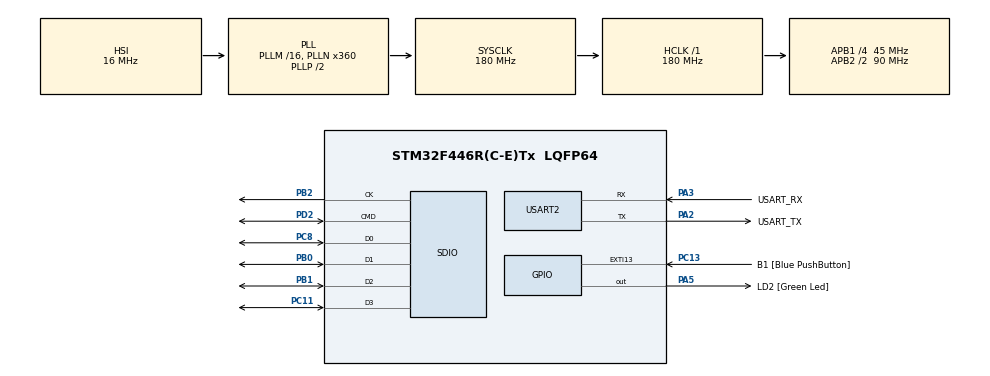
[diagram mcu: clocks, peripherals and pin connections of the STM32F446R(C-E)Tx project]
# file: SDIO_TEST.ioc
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FATFS._MAX_SS=4096
Mcu.Family=STM32F4
Mcu.Name=STM32F446R(C-E)Tx
Mcu.Package=LQFP64
NVIC.PriorityGroup=NVIC_PRIORITYGROUP_0
PA13.GPIO_Label=TMS
PA13.Mode=Serial_Wire
PA13.Signal=SYS_JTMS-SWDIO
PA14.GPIO_Label=TCK
PA14.Mode=Serial_Wire
PA14.Signal=SYS_JTCK-SWCLK
PA2.GPIO_Label=USART_TX
PA2.Mode=Asynchronous
PA2.Signal=USART2_TX
PA3.GPIO_Label=USART_RX
PA3.Mode=Asynchronous
PA3.Signal=USART2_RX
PA5.GPIO_Label=LD2 [Green Led]
PA5.Signal=GPIO_Output
PB0.Mode=SD_4_bits_Wide_bus
PB0.Signal=SDIO_D1
PB1.Mode=SD_4_bits_Wide_bus
PB1.Signal=SDIO_D2
PB2.Mode=SD_4_bits_Wide_bus
PB2.Signal=SDIO_CK
PB3.GPIO_Label=SWO
PB3.Signal=SYS_JTDO-SWO
PC11.Mode=SD_4_bits_Wide_bus
PC11.Signal=SDIO_D3
PC13.GPIO_Label=B1 [Blue PushButton]
PC13.GPIO_ModeDefaultEXTI=GPIO_MODE_IT_FALLING
PC13.Signal=GPXTI13
PC14-OSC32_IN.Mode=LSE-External-Oscillator
PC14-OSC32_IN.Signal=RCC_OSC32_IN
PC15-OSC32_OUT.Mode=LSE-External-Oscillator
PC15-OSC32_OUT.Signal=RCC_OSC32_OUT
PC8.Mode=SD_4_bits_Wide_bus
PC8.Signal=SDIO_D0
PD2.Mode=SD_4_bits_Wide_bus
PD2.Signal=SDIO_CMD
PH0-OSC_IN.Mode=HSE-External-Oscillator
PH0-OSC_IN.Signal=RCC_OSC_IN
PH1-OSC_OUT.Mode=HSE-External-Oscillator
PH1-OSC_OUT.Signal=RCC_OSC_OUT
ProjectManager.HeapSize=0x200
ProjectManager.StackSize=0x400
ProjectManager.TargetToolchain=STM32CubeIDE
RCC.48MHZClocksFreq_Value=84000000
RCC.AHBFreq_Value=180000000
RCC.APB1CLKDivider=RCC_HCLK_DIV4
RCC.APB1Freq_Value=45000000
RCC.APB1TimFreq_Value=90000000
RCC.APB2CLKDivider=RCC_HCLK_DIV2
RCC.APB2Freq_Value=90000000
RCC.APB2TimFreq_Value=180000000
RCC.CortexFreq_Value=180000000
RCC.FLatency-AdvancedSettings=FLASH_LATENCY_5
RCC.HCLKFreq_Value=180000000
RCC.HSE_VALUE=8000000
RCC.HSI_VALUE=16000000
RCC.PLLN=360
RCC.PLLQ=9
RCC.PLLSAIN=180
RCC.SYSCLKFreq_VALUE=180000000
RCC.SYSCLKSource=RCC_SYSCLKSOURCE_PLLCLK
RCC.USBFreq_Value=40000000
RCC.VCOOutputFreq_Value=360000000
SDIO.ClockDiv=78
USART2.VirtualMode=VM_ASYNC
VP_FATFS_VS_SDIO.Mode=SDIO
board=NUCLEO-F446RE

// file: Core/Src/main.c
/* USER CODE BEGIN Header */
/**
  ******************************************************************************
  * @file           : main.c
  * @brief          : Main program body
  ******************************************************************************
  * @attention
  *
  * Copyright (c) 2023 STMicroelectronics.
  * All rights reserved.
  *
  * This software is licensed under terms that can be found in the LICENSE file
  * in the root directory of this software component.
  * If no LICENSE file comes with this software, it is provided AS-IS.
  *
  ******************************************************************************
  */
/* USER CODE END Header */
#include "main.h"
#include "fatfs.h"

/* USER CODE BEGIN Includes */

#include "stdio.h"
#include <string.h>

/* USER CODE END Includes */

/* USER CODE BEGIN PD */

#define BUFFER_SIZE 128

/* USER CODE END PD */

SD_HandleTypeDef hsd;

UART_HandleTypeDef huart2;

/* USER CODE BEGIN PV */

char buffer[BUFFER_SIZE];	// Store strings for f_write

/* USER CODE END PV */

void SystemClock_Config(void);
static void MX_GPIO_Init(void);
static void MX_USART2_UART_Init(void);
static void MX_SDIO_SD_Init(void);

/* USER CODE BEGIN 0 */

FATFS fs; // file system
FIL fil; // file (this needs to be changed)
FILINFO fno;		// ???
FRESULT fresult;
UINT br, bw;
FATFS *pfs;
DWORD fre_clust;
uint32_t total, free_space;

int _write(int file, char *ptr, int length) {
	int i = 0;

	for(i = 0; i < length; i++) {
		ITM_SendChar((*ptr++));
	}

	return length;
}

int bufsize (char *buf) {
	int i=0;
	while (*buf++ != '\0') i++;
	return i;
}

// Clear UART buffer for debugging
void bufclear(void) {
	for(int i = 0; i < BUFFER_SIZE; i++){
		buffer[i] = '\0';
	}
}

/* USER CODE END 0 */

int main(void)
{

  /* MCU Configuration--------------------------------------------------------*/

  /* Reset of all peripherals, Initializes the Flash interface and the Systick. */
  HAL_Init();

  /* Configure the system clock */
  SystemClock_Config();

  /* Initialize all configured peripherals */
  MX_GPIO_Init();
  MX_USART2_UART_Init();
  MX_SDIO_SD_Init();
  MX_FATFS_Init();
  /* USER CODE BEGIN 2 */

  // Start DMA buffer
  // Might need to stop DMA at some point
//  HAL_ADC_Start_DMA(&hadc1, (uint16_t*)adc_data, ADC_BUFFER_SIZE);

  // Mount SD card
  fresult = f_mount(&fs, "", 0);

  if(fresult != FR_OK){
	  printf("ERROR in mounting SD card...\n");
  }
  else {
	  printf("SD card mounted successfully...\n");
  }

//  // Check free space on SD card
//  f_getfree("", &fre_clust, &pfs);
//
//  total = (uint32_t)((pfs->n_fatent - 2) * pfs->csize * 0.5);
//  printf("SD card total size: \t%lu\n", total);
//  bufclear();
//  free_space = (uint32_t)(fre_clust * pfs->csize * 0.5);
//  printf("SD card free space: \t%lu\n", free_space);
//  bufclear();

  char *name = "ADCDATA.csv";

  fresult = f_stat(name, &fno);

  if (fresult == FR_OK) {
	  printf("*%s* already exists!!!!\n",name);
	  bufclear();
  }
  else {
	  fresult = f_open(&fil, name, FA_CREATE_ALWAYS|FA_READ|FA_WRITE);
  }
	  if(fresult != FR_OK) {
		  printf ("ERROR: no %d in creating file *%s*\n", fresult, name);
		  bufclear();
	  }
	  else {
		  printf ("*%s* created successfully\n",name);
		  bufclear();
	  }

  fresult = f_printf(&fil, "time, explosion, audio, pressure, acceleration\r\n");

  /* USER CODE END 2 */

  /* Infinite loop */
  while (1)
  {

  }
}

void SystemClock_Config(void)
{
  RCC_OscInitTypeDef RCC_OscInitStruct = {0};
  RCC_ClkInitTypeDef RCC_ClkInitStruct = {0};

  /** Configure the main internal regulator output voltage
  */
  __HAL_RCC_PWR_CLK_ENABLE();
  __HAL_PWR_VOLTAGESCALING_CONFIG(PWR_REGULATOR_VOLTAGE_SCALE1);

  /** Initializes the RCC Oscillators according to the specified parameters
  * in the RCC_OscInitTypeDef structure.
  */
  RCC_OscInitStruct.OscillatorType = RCC_OSCILLATORTYPE_HSI;
  RCC_OscInitStruct.HSIState = RCC_HSI_ON;
  RCC_OscInitStruct.HSICalibrationValue = RCC_HSICALIBRATION_DEFAULT;
  RCC_OscInitStruct.PLL.PLLState = RCC_PLL_ON;
  RCC_OscInitStruct.PLL.PLLSource = RCC_PLLSOURCE_HSI;
  RCC_OscInitStruct.PLL.PLLM = 16;
  RCC_OscInitStruct.PLL.PLLN = 360;
  RCC_OscInitStruct.PLL.PLLP = RCC_PLLP_DIV2;
  RCC_OscInitStruct.PLL.PLLQ = 9;
  RCC_OscInitStruct.PLL.PLLR = 2;
  if (HAL_RCC_OscConfig(&RCC_OscInitStruct) != HAL_OK)
  {
    Error_Handler();
  }

  /** Activate the Over-Drive mode
  */
  if (HAL_PWREx_EnableOverDrive() != HAL_OK)
  {
    Error_Handler();
  }

  /** Initializes the CPU, AHB and APB buses clocks
  */
  RCC_ClkInitStruct.ClockType = RCC_CLOCKTYPE_HCLK|RCC_CLOCKTYPE_SYSCLK
                              |RCC_CLOCKTYPE_PCLK1|RCC_CLOCKTYPE_PCLK2;
  RCC_ClkInitStruct.SYSCLKSource = RCC_SYSCLKSOURCE_PLLCLK;
  RCC_ClkInitStruct.AHBCLKDivider = RCC_SYSCLK_DIV1;
  RCC_ClkInitStruct.APB1CLKDivider = RCC_HCLK_DIV4;
  RCC_ClkInitStruct.APB2CLKDivider = RCC_HCLK_DIV2;

  if (HAL_RCC_ClockConfig(&RCC_ClkInitStruct, FLASH_LATENCY_5) != HAL_OK)
  {
    Error_Handler();
  }
}

static void MX_SDIO_SD_Init(void)
{

  hsd.Instance = SDIO;
  hsd.Init.ClockEdge = SDIO_CLOCK_EDGE_RISING;
  hsd.Init.ClockBypass = SDIO_CLOCK_BYPASS_DISABLE;
  hsd.Init.ClockPowerSave = SDIO_CLOCK_POWER_SAVE_DISABLE;
  hsd.Init.BusWide = SDIO_BUS_WIDE_4B;
  hsd.Init.HardwareFlowControl = SDIO_HARDWARE_FLOW_CONTROL_DISABLE;
  hsd.Init.ClockDiv = 78;

}

static void MX_USART2_UART_Init(void)
{

  huart2.Instance = USART2;
  huart2.Init.BaudRate = 115200;
  huart2.Init.WordLength = UART_WORDLENGTH_8B;
  huart2.Init.StopBits = UART_STOPBITS_1;
  huart2.Init.Parity = UART_PARITY_NONE;
  huart2.Init.Mode = UART_MODE_TX_RX;
  huart2.Init.HwFlowCtl = UART_HWCONTROL_NONE;
  huart2.Init.OverSampling = UART_OVERSAMPLING_16;
  if (HAL_UART_Init(&huart2) != HAL_OK)
  {
    Error_Handler();
  }

}

static void MX_GPIO_Init(void)
{
  GPIO_InitTypeDef GPIO_InitStruct = {0};

  /* GPIO Ports Clock Enable */
  __HAL_RCC_GPIOC_CLK_ENABLE();
  __HAL_RCC_GPIOH_CLK_ENABLE();
  __HAL_RCC_GPIOA_CLK_ENABLE();
  __HAL_RCC_GPIOB_CLK_ENABLE();
  __HAL_RCC_GPIOD_CLK_ENABLE();

  /*Configure GPIO pin Output Level */
  HAL_GPIO_WritePin(LD2_GPIO_Port, LD2_Pin, GPIO_PIN_RESET);

  /*Configure GPIO pin : B1_Pin */
  GPIO_InitStruct.Pin = B1_Pin;
  GPIO_InitStruct.Mode = GPIO_MODE_IT_FALLING;
  GPIO_InitStruct.Pull = GPIO_NOPULL;
  HAL_GPIO_Init(B1_GPIO_Port, &GPIO_InitStruct);

  /*Configure GPIO pin : LD2_Pin */
  GPIO_InitStruct.Pin = LD2_Pin;
  GPIO_InitStruct.Mode = GPIO_MODE_OUTPUT_PP;
  GPIO_InitStruct.Pull = GPIO_NOPULL;
  GPIO_InitStruct.Speed = GPIO_SPEED_FREQ_LOW;
  HAL_GPIO_Init(LD2_GPIO_Port, &GPIO_InitStruct);

}

void Error_Handler(void)
{
  __disable_irq();
  while (1)
  {
  }
}
